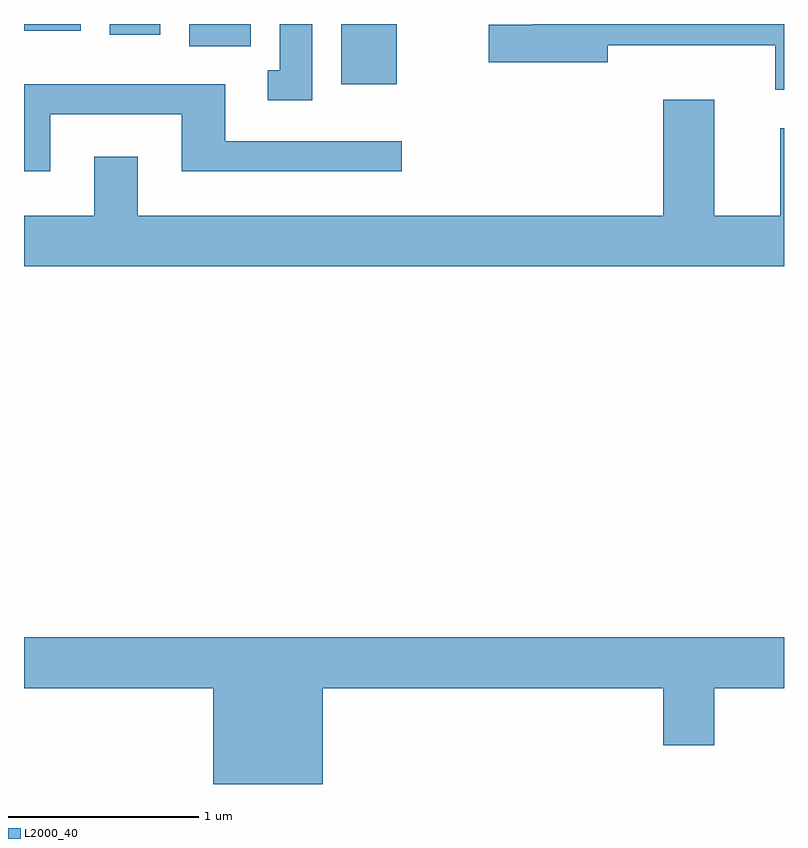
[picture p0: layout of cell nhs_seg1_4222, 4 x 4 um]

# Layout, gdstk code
import gdstk
lib = gdstk.Library(unit=1e-6, precision=1e-09)
def R(c, l, rs):  # rectangles x0, y0, x1, y1
    for r in rs: c.add(gdstk.rectangle(r[:2], r[2:], *l))
def P(c, l, *ps):  # polygons
    for p in ps: c.add(gdstk.Polygon(p, *l))
L2000_40 = (2000, 40)

nhs_seg1_4222 = lib.new_cell('nhs_seg1_4222')
R(nhs_seg1_4222, L2000_40, [(313.281,929.396,313.574,929.712), (312.481,929.596,312.804,929.712), (312.061,929.656,312.329,929.712), (311.611,929.676,311.909,929.712)])
P(nhs_seg1_4222, L2000_40, [(313.129,929.712),(312.956,929.712),(312.956,929.469),(312.893,929.469),(312.893,929.311),(313.129,929.311)],
  [(315.611,929.712),(314.291,929.712),(314.291,929.709),(314.056,929.709),(314.056,929.511),(314.684,929.511),(314.684,929.601),(315.566,929.601),(315.566,929.366),(315.611,929.366)],
  [(311.749,929.236),(312.441,929.236),(312.441,928.936),(313.598,928.936),(313.598,929.094),(312.669,929.094),(312.669,929.394),(311.611,929.394),(311.611,928.936),(311.749,928.936)],
  [(315.611,929.164),(315.591,929.164),(315.591,928.704),(315.244,928.704),(315.244,929.314),(314.976,929.314),(314.976,928.704),(312.209,928.704),(312.209,929.014),(311.981,929.014),(311.981,928.704),(311.611,928.704),(311.611,928.436),(315.611,928.436)],
  [(313.184,926.216),(314.976,926.216),(314.976,925.916),(315.244,925.916),(315.244,926.216),(315.611,926.216),(315.611,926.484),(311.611,926.484),(311.611,926.216),(312.606,926.216),(312.606,925.712),(313.184,925.712)])

lib.write_gds('nhs_seg1_4222.gds')
